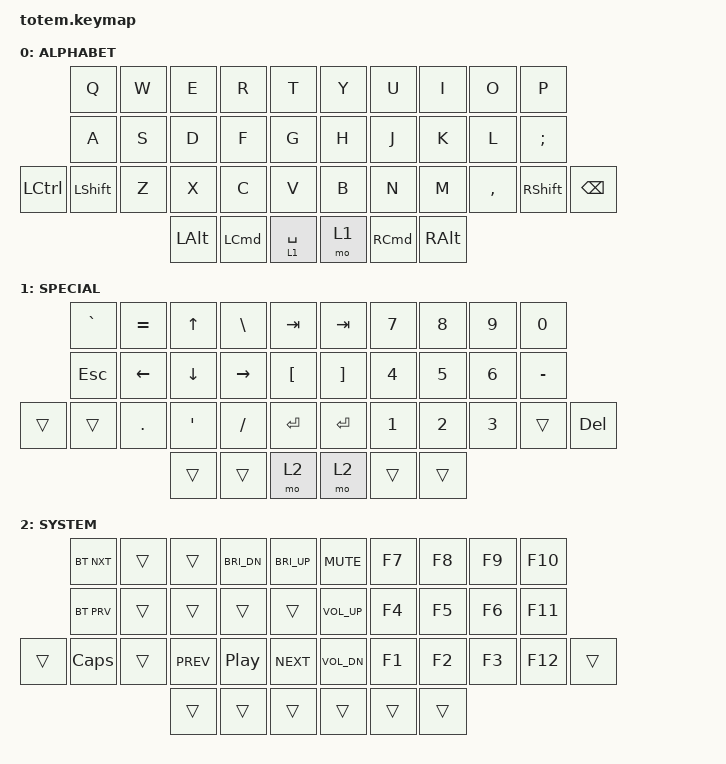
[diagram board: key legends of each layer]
#include <behaviors.dtsi>
#include <dt-bindings/zmk/bt.h>
#include <dt-bindings/zmk/keys.h>

#define ALPHABET 0
#define SPECIAL  1
#define SYSTEM  2

/ {
    combos {
        compatible = "zmk,combos";

        combo_esc {
            timeout-ms = <60>;
            key-positions = <0 1>;
            bindings = <&kp ESCAPE>;
            require-prior-idle-ms = <120>;
        };

        enter_right_combo {
            bindings = <&kp ENTER>;
            key-positions = <16 18 17>;
            timeout-ms = <70>;
            require-prior-idle-ms = <100>;
        };

        layer2 {
            bindings = <&mo 2>;
            key-positions = <34 35>;
        };
    };

    keymap {
        compatible = "zmk,keymap";

        base_layer {
            label = "ALPHABET";
            bindings = <
                  &kp Q           &kp W  &kp E         &kp R             &kp T          &kp Y  &kp U              &kp I          &kp O      &kp P
                  &kp A           &kp S  &kp D         &kp F             &kp G          &kp H  &kp J              &kp K          &kp L      &kp SEMICOLON
&kp LEFT_CONTROL  &kp LEFT_SHIFT  &kp Z  &kp X         &kp C             &kp V          &kp B  &kp N              &kp M          &kp COMMA  &kp RIGHT_SHIFT  &kp BACKSPACE
                                         &kp LEFT_ALT  &kp LEFT_COMMAND  &lt 1 SPACE    &mo 1  &kp RIGHT_COMMAND  &kp RIGHT_ALT
            >;
        };

        nav_layer {
            label = "SPECIAL";
            bindings = <
        &kp GRAVE  &kp EQUAL       &kp UP          &kp BACKSLASH    &kp TAB      &kp TAB    &kp N7  &kp N8        &kp N9  &kp N0
        &kp ESC    &kp LEFT_ARROW  &kp DOWN_ARROW  &kp RIGHT_ARROW  &kp LBKT     &kp RBKT   &kp N4  &kp NUMBER_5  &kp N6  &kp MINUS
&trans  &trans     &kp DOT         &kp APOS        &kp SLASH        &kp ENTER    &kp ENTER  &kp N1  &kp N2        &kp N3  &trans     &kp DELETE
                                   &trans          &trans           &mo 2        &mo 2      &trans  &trans
            >;
        };

        sim_layer {
            label = "SYSTEM";
            bindings = <
        &bt BT_NXT    &trans  &trans      &kp C_BRI_DN  &kp C_BRI_UP    &kp C_MUTE    &kp F7  &kp F8  &kp F9  &kp F10
        &bt BT_PRV    &trans  &trans      &trans        &trans          &kp C_VOL_UP  &kp F4  &kp F5  &kp F6  &kp F11
&trans  &kp CAPSLOCK  &trans  &kp C_PREV  &kp C_PP      &kp C_NEXT      &kp C_VOL_DN  &kp F1  &kp F2  &kp F3  &kp F12  &trans
                              &trans      &trans        &trans          &trans        &trans  &trans
            >;
        };
    };
};
